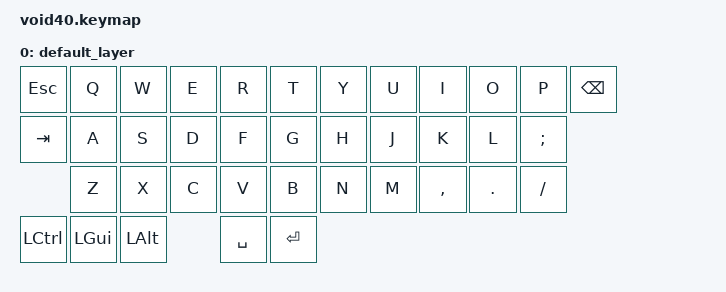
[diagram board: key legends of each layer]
#include <behaviors.dtsi>
#include <dt-bindings/zmk/keys.h>

/ {
    keymap {
        compatible = "zmk,keymap";

        default_layer {
            // ------------------------------------------------------------------------------------------
            // |  ESC  |  Q   |  W   |  E   |  R   |  T   |   Y   |  U    |  I   |  O   |   P   | BSPC  |
            // |  TAB  |  A   |  S   |  D   |  F   |  G   |   H   |  J    |  K   |  L   |   Ç   |       |
            // | SHIFT |  Z   |  X   |  C   |  V   |  B   |   N   |  M    |  ,   |  .   |   -   |       |
            // |  LCTL | LGUI | LALT |      | SPACE| ENTER|       |       |      |      |       |       |


            bindings = <
                &kp ESC    &kp Q        &kp W       &kp E    &kp R      &kp T       &kp Y       &kp U   &kp I       &kp O       &kp P       &kp BSPC
                &kp TAB    &kp A        &kp S       &kp D    &kp F      &kp G       &kp H       &kp J   &kp K       &kp L       &kp SEMI    
                           &kp Z        &kp X       &kp C    &kp V      &kp B       &kp N       &kp M   &kp COMMA   &kp DOT     &kp SLASH   
                &kp LCTRL  &kp LGUI     &kp LALT             &kp SPACE  &kp ENTER                                                            
            >;
        };
    };
};
